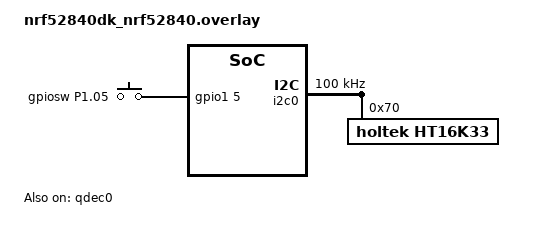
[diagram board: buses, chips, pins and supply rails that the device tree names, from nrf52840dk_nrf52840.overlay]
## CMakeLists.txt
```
cmake_minimum_required(VERSION 3.20.0)
find_package(Zephyr REQUIRED HINTS $ENV{ZEPHYR_BASE})

project(final)

FILE(GLOB app_sources src/*.c)

target_sources(app PRIVATE ${app_sources})
```

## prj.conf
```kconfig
CONFIG_SENSOR=y
CONFIG_PRINTK=y

# CONFIG: ROTARY SENSOR
CONFIG_LOG=y
CONFIG_I2C=y
CONFIG_LED=y
CONFIG_KSCAN=y
CONFIG_KSCAN_INIT_PRIORITY=95
CONFIG_HT16K33_KEYSCAN=y

# CONFIG: NFC
CONFIG_NCS_SAMPLES_DEFAULTS=y

CONFIG_REBOOT=y
CONFIG_DK_LIBRARY=y

CONFIG_NFC_T2T_NRFXLIB=y

CONFIG_NFC_NDEF=y
CONFIG_NFC_NDEF_MSG=y
CONFIG_NFC_NDEF_RECORD=y
CONFIG_NFC_NDEF_URI_REC=y
CONFIG_NFC_NDEF_LAUNCHAPP_MSG=y

# CONFIG: BLUETOOTH
CONFIG_BT=y
CONFIG_BT_PERIPHERAL=y
CONFIG_BT_DEVICE_NAME="SMART_HOME_LIGHT"
CONFIG_BT_LBS=y
CONFIG_BT_LBS_POLL_BUTTON=y

CONFIG_SYSTEM_WORKQUEUE_STACK_SIZE=2048
```

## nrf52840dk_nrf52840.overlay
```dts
/ {
	aliases {
		qdec0 = &qdec0;
		gpio-sw = &gpiosw;
	};

	gpiocustom{
		status = "okay";
		compatible = "gpio-keys";
		gpiosw: gpiosw {
			gpios = <&gpio1 5 (GPIO_PULL_UP)>;
			label = "gpiosw P1.05";
		};
	};
};

&pinctrl {
	qdec_pinctrl: qdec_pinctrl {
		group1 {
			psels = <NRF_PSEL(QDEC_A, 1, 4)>,   /* Arduino D3 */
				<NRF_PSEL(QDEC_B, 1, 3)>;   /* Arduino D2 */
		};
	};
};

&qdec0 {
	status = "okay";
	pinctrl-0 = <&qdec_pinctrl>;
	pinctrl-names = "default";
	steps = < 20 >;
	led-pre = < 500 >;
};

&i2c0 {
	clock-frequency = <I2C_BITRATE_STANDARD>;

	ht16k33@70 {
		compatible = "holtek,ht16k33";
		reg = <0x70>;
                /* Uncomment to use IRQ instead of polling: */
		/* irq-gpios = <&gpio1 8 (GPIO_PULL_UP | GPIO_ACTIVE_LOW)>; */

		keyscan {
			compatible = "holtek,ht16k33-keyscan";
		};
	};
};
```

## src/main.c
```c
#include <zephyr/kernel.h>
#include <zephyr/device.h>
#include <zephyr/sys/printk.h>
#include <zephyr/drivers/sensor.h>
#include <zephyr/drivers/gpio.h>

#include <zephyr/sys/reboot.h>

#include <nfc_t2t_lib.h>
#include <nfc/ndef/launchapp_msg.h>

#include <dk_buttons_and_leds.h>

#include <zephyr/bluetooth/bluetooth.h>
#include <zephyr/bluetooth/hci.h>
#include <zephyr/bluetooth/conn.h>
#include <zephyr/bluetooth/uuid.h>
#include <zephyr/bluetooth/gatt.h>


#include <bluetooth/services/lbs.h>
#include <zephyr/settings/settings.h>

#include "rotary.h"

// NFC
#define NDEF_MSG_BUF_SIZE	256
#define NFC_FIELD_LED		DK_LED1

// BLUETOOTH
#define DEVICE_NAME         CONFIG_BT_DEVICE_NAME
#define DEVICE_NAME_LEN     (sizeof(DEVICE_NAME) - 1)

#define RUN_STATUS_LED      DK_LED1
#define CON_STATUS_LED      DK_LED2
// #define RUN_LED_BLINK_INTERVAL 1000

#define USER_BUTTON         DK_BTN1_MSK

static bool app_button_state;

static const struct bt_data ad[] = {
	BT_DATA_BYTES(BT_DATA_FLAGS, (BT_LE_AD_GENERAL | BT_LE_AD_NO_BREDR)),
	BT_DATA(BT_DATA_NAME_COMPLETE, DEVICE_NAME, DEVICE_NAME_LEN),
};

static const struct bt_data sd[] = {
	BT_DATA_BYTES(BT_DATA_UUID128_ALL, BT_UUID_LBS_VAL),
};


// NFC
/* URI nrf-toolbox://main/ */
static const uint8_t universal_link[] = {
	'n', 'r', 'f', '-', 't', 'o', 'o', 'l', 'b', 'o', 'x', ':', '/', '/', 'm', 'a', 'i', 'n',
	'/'};

/* Package: com.sec.android.app.camera */
/* If you want to use Camera App with NFC, Just use this code! */
// static const uint8_t camara_pkg_name[] = {
// 	'c', 'o', 'm', '.', 's', 'e', 'c', '.', 'a', 'n', 'd', 'r', 'o', 'i', 'd', '.', 'a', 'p', 'p', '.', 'c', 'a', 'm', 'e', 'r', 'a'
// };

/* Package: no.nordicsemi.android.mcp */
static const uint8_t nrf_connect_pkg_name[] = {
	'n', 'o', '.', 'n', 'o', 'r', 'd', 'i', 'c', 's', 'e', 'm', 'i', '.', 'a', 'n', 'd', 'r', 'o', 'i', 'd', '.', 'm', 'c', 'p'
};
/** .. include_endpoint_pkg_def_launchapp_rst */

/* Buffer used to hold an NFC NDEF message. */
static uint8_t ndef_msg_buf[NDEF_MSG_BUF_SIZE];

// Rotary Sensor
#define SW_NODE DT_NODELABEL(gpiosw)
static const struct gpio_dt_spec sw = GPIO_DT_SPEC_GET(SW_NODE, gpios);

static bool sw_led_flag = false;
static int rotary_idx = 0;

static struct gpio_callback sw_cb_data;

// Bluetooth functions
static void bt_connected(struct bt_conn *conn, uint8_t err)
{
    if(err)
    {
        printk("Connection failed (err %u)\n", err);
        return;
    }

    printk("Connected\n");

	led_off_all();
}

static void bt_disconnected(struct bt_conn *conn, uint8_t reason)
{
	printk("Disconnected (reason %u)\n", reason);

	dk_set_led_off(CON_STATUS_LED);
}

#ifdef CONFIG_BT_LBS_SECURITY_ENABLED
static void security_changed(struct bt_conn *conn, bt_security_t level,
			     enum bt_security_err err)
{
	char addr[BT_ADDR_LE_STR_LEN];

	bt_addr_le_to_str(bt_conn_get_dst(conn), addr, sizeof(addr));

	if (!err) {
		printk("Security changed: %s level %u\n", addr, level);
	} else {
		printk("Security failed: %s level %u err %d\n", addr, level,
			err);
	}
}
#endif

BT_CONN_CB_DEFINE(conn_callbacks) = {
	.connected        = bt_connected,
	.disconnected     = bt_disconnected,
#ifdef CONFIG_BT_LBS_SECURITY_ENABLED
	.security_changed = security_changed,
#endif
};

static struct bt_conn_auth_cb conn_auth_callbacks;
static struct bt_conn_auth_info_cb conn_auth_info_callbacks;

#define USER_LED DK_LED3

static void app_led_cb(bool led_state)
{
	dk_set_led(USER_LED, led_state);
	led_all_set(led_state);
}

static bool app_button_cb(void)
{
	return app_button_state;
}

static struct bt_lbs_cb lbs_callbacs = {
	.led_cb    = app_led_cb,
	.button_cb = app_button_cb,
};

static void button_changed(uint32_t button_state, uint32_t has_changed)
{
	if (has_changed & USER_BUTTON) {
		uint32_t user_button_state = button_state & USER_BUTTON;

		bt_lbs_send_button_state(user_button_state);
		app_button_state = user_button_state ? true : false;
	}
}

static int init_button(void)
{
	int err;

	err = dk_buttons_init(button_changed);
	if (err) {
		printk("Cannot init buttons (err: %d)\n", err);
	}

	return err;
}


static void nfc_callback(void *context,
			 nfc_t2t_event_t event,
			 const uint8_t *data,
			 size_t data_length)
{
	ARG_UNUSED(context);
	ARG_UNUSED(data);
	ARG_UNUSED(data_length);

	switch (event) {
	case NFC_T2T_EVENT_FIELD_ON:
		dk_set_led_on(NFC_FIELD_LED);
		break;
	case NFC_T2T_EVENT_FIELD_OFF:
		dk_set_led_off(NFC_FIELD_LED);
		break;
	default:
		break;
	}
}

void sw_callback(const struct device *dev, struct gpio_callback *cb, uint32_t pins)
{
    printk("SW pressed\n");
    sw_led_flag = !sw_led_flag;
}

int main(void)
{
	// LED(RICH SHIELD TWO )
	
    int blink_status = 0;

	// for error codes
	int err;

    struct sensor_value val;
    int rc;
    const struct device *const dev = DEVICE_DT_GET(DT_ALIAS(qdec0));

	size_t len = sizeof(ndef_msg_buf);

    printk("Starting Bluetooth\n");
	// 버튼 초기화(DK 내부 버튼들 사용하려고 함)
	err = init_button();
	if(err) {
		printk("Button init failed (err %d)\n", err);
		return 0;
	}

	// BLE Security 설정 여부 확인하고, 설정되어있으면 실행하는 것.
    if (IS_ENABLED(CONFIG_BT_LBS_SECURITY_ENABLED)) {
		err = bt_conn_auth_cb_register(&conn_auth_callbacks);
		if (err) {
			printk("Failed to register authorization callbacks.\n");
			return 0;
		}

		err = bt_conn_auth_info_cb_register(&conn_auth_info_callbacks);
		if (err) {
			printk("Failed to register authorization info callbacks.\n");
			return 0;
		}
	}

	// bluetooth 사용으로 설정하는 과정
    err = bt_enable(NULL);
	if (err) {
		printk("Bluetooth init failed (err %d)\n", err);
		return 0;
	}

    printk("Bluetooth initialized\n");

	// setting값이 있으면 load
    if (IS_ENABLED(CONFIG_SETTINGS)) {
		settings_load();
	}

	// 버튼으로 LED 제어 준비
	err = bt_lbs_init(&lbs_callbacs);
	if (err) {
		printk("Failed to init LBS (err:%d)\n", err);
		return 0;
	}

	// 블루투스 Advertising
    err = bt_le_adv_start(BT_LE_ADV_CONN, ad, ARRAY_SIZE(ad),
			      sd, ARRAY_SIZE(sd));
	if (err) {
		printk("Advertising failed to start (err %d)\n", err);
		return 0;
	}

	printk("Advertising successfully started\n");


	// NFC 시작
	printk("Starting NFC\n");

    if(!device_is_ready(dev))
    {
        printk("Qdec device is not ready\n");
        return 0;
    }

    if(!gpio_is_ready_dt(&sw))
    {
		printk("SW GPIO is not ready\n");
		return 0;
	}

	/* Configure LED-pins as outputs */
	err = dk_leds_init();
	if (err) {
		printk("Cannot init LEDs!\n");
		goto fail;
	}

	/* Set up NFC */
	err = nfc_t2t_setup(nfc_callback, NULL);
	if (err) {
		printk("Cannot setup NFC T2T library!\n");
		goto fail;
	}

    err = gpio_pin_configure_dt(&sw, GPIO_INPUT);
    if(err < 0)
    {
        printk("Error configuring sw GPIO pin %d\n", err);
        return 0;
    }

    err = gpio_pin_interrupt_configure_dt(&sw, GPIO_INT_EDGE_RISING);
    if(err != 0)
    {
        printk("Error configuring SW GPIO interrupt %d\n", err);
        return 0;
    }

    gpio_init_callback(&sw_cb_data, sw_callback, BIT(sw.pin));
    gpio_add_callback(sw.port, &sw_cb_data);

    // led_on_idx(rotary_idx);
	led_off_all();

	/* Encode launch app data  */
	err = nfc_launchapp_msg_encode(nrf_connect_pkg_name,
				       sizeof(nrf_connect_pkg_name),
				       universal_link,
				       sizeof(universal_link),
				       ndef_msg_buf,
				       &len);
	if (err) {
		printk("Cannot encode message!\n");
		goto fail;
	}

	/* Set created message as the NFC payload */
	err = nfc_t2t_payload_set(ndef_msg_buf, len);
	if (err) {
		printk("Cannot set payload!\n");
		goto fail;
	}

	/* Start sensing NFC field */
	err = nfc_t2t_emulation_start();
	if (err) {
		printk("Cannot start emulation!\n");
		goto fail;
	}

	printk("NFC configuration done\n");

	int32_t rotary_value = 0;

    while(1)
    {
        dk_set_led(RUN_STATUS_LED, (++blink_status) % 2);
        
        rc = sensor_sample_fetch(dev);
        rc = sensor_channel_get(dev, SENSOR_CHAN_ROTATION, &val);

		// if(app_button_state)
		rotary_value += (val.val1 / 72 * 5);

		if(rotary_value > 100)
			rotary_value = 100;
		else if(rotary_value < 0)
			rotary_value = 0;
		led_brightness(rotary_value);
		// printk("rotary value: %d\n", val.val1);	
		// else
		// 	led_off_all();

        k_msleep(100);
    }
    
	return 0;

fail:
#if CONFIG_REBOOT
	sys_reboot(SYS_REBOOT_COLD);
#endif /* CONFIG_REBOOT */

	return err;
}
```

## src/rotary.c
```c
#include "rotary.h"

// int led_matrix_array [MAX_ROTARY_IDX+1][MAX_LED_NUM+1]= {
//     {
//         0, 0, 0, 0, 0, 0, 0, 0, 0, 0, 0, 0, 0, 0, 0, 0,
//         0, 0, 0, 0, 0, 0, 0, 0, 0, 0, 0, 0, 0, 0, 0, 0,
//         0, 0, 0, 0, 0, 0, 0, 0, 0, 0, 0, 0, 0, 0, 0, 0,
//         1, 1, 1, 1, 1, 1, 1, 1, 0, 0, 0, 0, 0, 0, 0, 0,
//         0, 0, 0, 0, 0, 0, 0, 0, 1, 1, 1, 1, 1, 1, 1, 1,
//         0, 0, 0, 0, 0, 0, 0, 0, 0, 0, 0, 0, 0, 0, 0, 0,
//         0, 0, 0, 0, 0, 0, 0, 0, 0, 0, 0, 0, 0, 0, 0, 0,
//         0, 0, 0, 0, 0, 0, 0, 0, 0, 0, 0, 0, 0, 0, 0, 0
//     },
//     {
//         0, 0, 0, 0, 0, 0, 0, 0, 0, 0, 0, 0, 0, 0, 0, 0,
//         0, 0, 0, 0, 0, 0, 0, 0, 0, 0, 0, 0, 0, 0, 0, 0,
//         1, 1, 1, 0, 0, 0, 0, 0, 0, 0, 0, 0, 0, 0, 0, 0,
//         0, 0, 0, 1, 1, 1, 1, 1, 0, 0, 0, 0, 0, 0, 0, 0,
//         0, 0, 0, 0, 0, 0, 0, 0, 1, 1, 1, 1, 1, 0, 0, 0,
//         0, 0, 0, 0, 0, 0, 0, 0, 0, 0, 0, 0, 0, 1, 1, 1,
//         0, 0, 0, 0, 0, 0, 0, 0, 0, 0, 0, 0, 0, 0, 0, 0,
//         0, 0, 0, 0, 0, 0, 0, 0, 0, 0, 0, 0, 0, 0, 0, 0
//     },
//     {
//         0, 0, 0, 0, 0, 0, 0, 0, 0, 0, 0, 0, 0, 0, 0, 0,
//         1, 1, 0, 0, 0, 0, 0, 0, 0, 0, 0, 0, 0, 0, 0, 0,
//         0, 0, 1, 1, 1, 0, 0, 0, 0, 0, 0, 0, 0, 0, 0, 0,
//         0, 0, 0, 0, 0, 1, 1, 1, 0, 0, 0, 0, 0, 0, 0, 0,
//         0, 0, 0, 0, 0, 0, 0, 0, 1, 1, 1, 0, 0, 0, 0, 0,
//         0, 0, 0, 0, 0, 0, 0, 0, 0, 0, 0, 1, 1, 1, 0, 0,
//         0, 0, 0, 0, 0, 0, 0, 0, 0, 0, 0, 0, 0, 0, 1, 1,
//         0, 0, 0, 0, 0, 0, 0, 0, 0, 0, 0, 0, 0, 0, 0, 0
//     },
//     {
//         1, 1, 0, 0, 0, 0, 0, 0, 0, 0, 0, 0, 0, 0, 0, 0,
//         0, 0, 1, 1, 0, 0, 0, 0, 0, 0, 0, 0, 0, 0, 0, 0,
//         0, 0, 0, 0, 1, 1, 0, 0, 0, 0, 0, 0, 0, 0, 0, 0,
//         0, 0, 0, 0, 0, 0, 1, 1, 0, 0, 0, 0, 0, 0, 0, 0,
//         0, 0, 0, 0, 0, 0, 0, 0, 1, 1, 0, 0, 0, 0, 0, 0,
//         0, 0, 0, 0, 0, 0, 0, 0, 0, 0, 1, 1, 0, 0, 0, 0,
//         0, 0, 0, 0, 0, 0, 0, 0, 0, 0, 0, 0, 1, 1, 0, 0,
//         0, 0, 0, 0, 0, 0, 0, 0, 0, 0, 0, 0, 0, 0, 1, 1
//     },
//     {
//         0, 0, 1, 0, 0, 0, 0, 0, 0, 0, 0, 0, 0, 0, 0, 0,
//         0, 0, 0, 1, 1, 0, 0, 0, 0, 0, 0, 0, 0, 0, 0, 0,
//         0, 0, 0, 0, 0, 1, 0, 0, 0, 0, 0, 0, 0, 0, 0, 0,
//         0, 0, 0, 0, 0, 0, 1, 1, 0, 0, 0, 0, 0, 0, 0, 0,
//         0, 0, 0, 0, 0, 0, 0, 0, 1, 1, 0, 0, 0, 0, 0, 0,
//         0, 0, 0, 0, 0, 0, 0, 0, 0, 1, 1, 0, 0, 0, 0, 0,
//         0, 0, 0, 0, 0, 0, 0, 0, 0, 0, 0, 1, 1, 0, 0, 0,
//         0, 0, 0, 0, 0, 0, 0, 0, 0, 0, 0, 0, 0, 1, 0, 0
//     },
//     {
//         0, 0, 0, 0, 1, 0, 0, 0, 0, 0, 0, 0, 0, 0, 0, 0,
//         0, 0, 0, 0, 0, 1, 0, 0, 0, 0, 0, 0, 0, 0, 0, 0,
//         0, 0, 0, 0, 0, 0, 1, 0, 0, 0, 0, 0, 0, 0, 0, 0,
//         0, 0, 0, 0, 0, 0, 0, 1, 0, 0, 0, 0, 0, 0, 0, 0,
//         0, 0, 0, 0, 0, 0, 0, 0, 1, 0, 0, 0, 0, 0, 0, 0,
//         0, 0, 0, 0, 0, 0, 0, 0, 0, 1, 0, 0, 0, 0, 0, 0,
//         0, 0, 0, 0, 0, 0, 0, 0, 0, 0, 1, 0, 0, 0, 0, 0,
//         0, 0, 0, 0, 0, 0, 0, 0, 0, 0, 0, 1, 0, 0, 0, 0,
//     },
//     {
//         0, 0, 0, 0, 0, 0, 1, 0, 0, 0, 0, 0, 0, 0, 0, 0,
//         0, 0, 0, 0, 0, 0, 1, 0, 0, 0, 0, 0, 0, 0, 0, 0,
//         0, 0, 0, 0, 0, 0, 0, 1, 0, 0, 0, 0, 0, 0, 0, 0,
//         0, 0, 0, 0, 0, 0, 0, 1, 0, 0, 0, 0, 0, 0, 0, 0,
//         0, 0, 0, 0, 0, 0, 0, 0, 1, 0, 0, 0, 0, 0, 0, 0,
//         0, 0, 0, 0, 0, 0, 0, 0, 1, 0, 0, 0, 0, 0, 0, 0,
//         0, 0, 0, 0, 0, 0, 0, 0, 0, 1, 0, 0, 0, 0, 0, 0,
//         0, 0, 0, 0, 0, 0, 0, 0, 0, 1, 0, 0, 0, 0, 0, 0
//     },
//     {
//         0, 0, 0, 0, 0, 0, 0, 1, 0, 0, 0, 0, 0, 0, 0, 0,
//         0, 0, 0, 0, 0, 0, 0, 1, 0, 0, 0, 0, 0, 0, 0, 0,
//         0, 0, 0, 0, 0, 0, 0, 1, 0, 0, 0, 0, 0, 0, 0, 0,
//         0, 0, 0, 0, 0, 0, 0, 1, 0, 0, 0, 0, 0, 0, 0, 0,
//         0, 0, 0, 0, 0, 0, 0, 0, 1, 0, 0, 0, 0, 0, 0, 0,
//         0, 0, 0, 0, 0, 0, 0, 0, 1, 0, 0, 0, 0, 0, 0, 0,
//         0, 0, 0, 0, 0, 0, 0, 0, 1, 0, 0, 0, 0, 0, 0, 0,
//         0, 0, 0, 0, 0, 0, 0, 0, 1, 0, 0, 0, 0, 0, 0, 0
//     },
//     {
//         0, 0, 0, 0, 0, 0, 0, 0, 1, 0, 0, 0, 0, 0, 0, 0,
//         0, 0, 0, 0, 0, 0, 0, 0, 1, 0, 0, 0, 0, 0, 0, 0,
//         0, 0, 0, 0, 0, 0, 0, 0, 1, 0, 0, 0, 0, 0, 0, 0,
//         0, 0, 0, 0, 0, 0, 0, 0, 1, 0, 0, 0, 0, 0, 0, 0,
//         0, 0, 0, 0, 0, 0, 0, 1, 0, 0, 0, 0, 0, 0, 0, 0,
//         0, 0, 0, 0, 0, 0, 0, 1, 0, 0, 0, 0, 0, 0, 0, 0,
//         0, 0, 0, 0, 0, 0, 0, 1, 0, 0, 0, 0, 0, 0, 0, 0,
//         0, 0, 0, 0, 0, 0, 0, 1, 0, 0, 0, 0, 0, 0, 0, 0
//     },
//     {
//         0, 0, 0, 0, 0, 0, 0, 0, 0, 0, 0, 1, 0, 0, 0, 0,
//         0, 0, 0, 0, 0, 0, 0, 0, 0, 0, 1, 0, 0, 0, 0, 0,
//         0, 0, 0, 0, 0, 0, 0, 0, 0, 1, 0, 0, 0, 0, 0, 0,
//         0, 0, 0, 0, 0, 0, 0, 0, 1, 0, 0, 0, 0, 0, 0, 0,
//         0, 0, 0, 0, 0, 0, 0, 1, 0, 0, 0, 0, 0, 0, 0, 0,
//         0, 0, 0, 0, 0, 0, 1, 0, 0, 0, 0, 0, 0, 0, 0, 0,
//         0, 0, 0, 0, 0, 1, 0, 0, 0, 0, 0, 0, 0, 0, 0, 0,
//         0, 0, 0, 0, 1, 0, 0, 0, 0, 0, 0, 0, 0, 0, 0, 0
//     },
//     {
//         0, 0, 0, 0, 0, 0, 0, 0, 0, 0, 0, 0, 0, 1, 0, 0,
//         0, 0, 0, 0, 0, 0, 0, 0, 0, 0, 0, 1, 1, 0, 0, 0,
//         0, 0, 0, 0, 0, 0, 0, 0, 0, 0, 1, 0, 0, 0, 0, 0,
//         0, 0, 0, 0, 0, 0, 0, 0, 1, 1, 0, 0, 0, 0, 0, 0,
//         0, 0, 0, 0, 0, 0, 1, 1, 0, 0, 0, 0, 0, 0, 0, 0,
//         0, 0, 0, 0, 0, 1, 1, 0, 0, 0, 0, 0, 0, 0, 0, 0,
//         0, 0, 0, 1, 1, 0, 0, 0, 0, 0, 0, 0, 0, 0, 0, 0,
//         0, 0, 1, 0, 0, 0, 0, 0, 0, 0, 0, 0, 0, 0, 0, 0
//     },
//     {
//         0, 0, 0, 0, 0, 0, 0, 0, 0, 0, 0, 0, 0, 0, 1, 1,
//         0, 0, 0, 0, 0, 0, 0, 0, 0, 0, 0, 0, 1, 1, 0, 0,
//         0, 0, 0, 0, 0, 0, 0, 0, 0, 0, 1, 1, 0, 0, 0, 0,
//         0, 0, 0, 0, 0, 0, 0, 0, 1, 1, 0, 0, 0, 0, 0, 0,
//         0, 0, 0, 0, 0, 0, 1, 1, 0, 0, 0, 0, 0, 0, 0, 0,
//         0, 0, 0, 0, 1, 1, 0, 0, 0, 0, 0, 0, 0, 0, 0, 0,
//         0, 0, 1, 1, 0, 0, 0, 0, 0, 0, 0, 0, 0, 0, 0, 0,
//         1, 1, 0, 0, 0, 0, 0, 0, 0, 0, 0, 0, 0, 0, 0, 0
//     },
//     {
//         0, 0, 0, 0, 0, 0, 0, 0, 0, 0, 0, 0, 0, 0, 0, 0,
//         0, 0, 0, 0, 0, 0, 0, 0, 0, 0, 0, 0, 0, 0, 1, 1,
//         0, 0, 0, 0, 0, 0, 0, 0, 0, 0, 0, 1, 1, 1, 0, 0,
//         0, 0, 0, 0, 0, 0, 0, 0, 1, 1, 1, 0, 0, 0, 0, 0,
//         0, 0, 0, 0, 0, 1, 1, 1, 0, 0, 0, 0, 0, 0, 0, 0,
//         0, 0, 1, 1, 1, 0, 0, 0, 0, 0, 0, 0, 0, 0, 0, 0,
//         1, 1, 0, 0, 0, 0, 0, 0, 0, 0, 0, 0, 0, 0, 0, 0,
//         0, 0, 0, 0, 0, 0, 0, 0, 0, 0, 0, 0, 0, 0, 0, 0
//     },
//     {
//         0, 0, 0, 0, 0, 0, 0, 0, 0, 0, 0, 0, 0, 0, 0, 0,
//         0, 0, 0, 0, 0, 0, 0, 0, 0, 0, 0, 0, 0, 0, 0, 0,
//         0, 0, 0, 0, 0, 0, 0, 0, 0, 0, 0, 0, 0, 1, 1, 1,
//         0, 0, 0, 0, 0, 0, 0, 0, 1, 1, 1, 1, 1, 0, 0, 0,
//         0, 0, 0, 1, 1, 1, 1, 1, 0, 0, 0, 0, 0, 0, 0, 0,
//         1, 1, 1, 0, 0, 0, 0, 0, 0, 0, 0, 0, 0, 0, 0, 0,
//         0, 0, 0, 0, 0, 0, 0, 0, 0, 0, 0, 0, 0, 0, 0, 0,
//         0, 0, 0, 0, 0, 0, 0, 0, 0, 0, 0, 0, 0, 0, 0, 0
//     },
//     {
//         0, 0, 0, 0, 0, 0, 0, 0, 0, 0, 0, 0, 0, 0, 0, 0,
//         0, 0, 0, 0, 0, 0, 0, 0, 0, 0, 0, 0, 0, 0, 0, 0,
//         0, 0, 0, 0, 0, 0, 0, 0, 0, 0, 0, 0, 0, 0, 0, 0,
//         0, 0, 0, 0, 0, 0, 0, 0, 1, 1, 1, 1, 1, 1, 1, 1,
//         1, 1, 1, 1, 1, 1, 1, 1, 0, 0, 0, 0, 0, 0, 0, 0,
//         0, 0, 0, 0, 0, 0, 0, 0, 0, 0, 0, 0, 0, 0, 0, 0,
//         0, 0, 0, 0, 0, 0, 0, 0, 0, 0, 0, 0, 0, 0, 0, 0,
//         0, 0, 0, 0, 0, 0, 0, 0, 0, 0, 0, 0, 0, 0, 0, 0
//     }
// };

int led_init()
{
    if(!device_is_ready(led))
    {
        printk("LED device %s is not ready\n", led->name);
    }

    return 0;
}

void led_off_all()
{
    for(int i = 0 ; i < MAX_LED_NUM ; i++)
    {
        led_off(led, i);
    }
}

void led_on_all()
{
    for(int i = 0 ; i < MAX_LED_NUM ; i++)
    {
        led_on(led, i);
    }
}

// void led_on_idx(int idx)
// {
//     // led_off_all();
//     for(int i = 0 ; i < MAX_LED_NUM ; i++)
//     {
//         if(led_matrix_array[idx][i] == 1)
//         {
//             led_on(led, i);
//         }
//         else
//         {
//             led_off(led, i);
//         }
//     }
// }

void led_brightness(int32_t idx)
{
    if(idx > 100)
        idx = 100;
    else if(idx < 0)
        idx = 0;
        
    led_set_brightness(led, 0, idx);
}

void led_all_set(bool led_state)
{
    if(led_state)
        led_on_all();
    else
        led_off_all();
}
```

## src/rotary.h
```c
#include <zephyr/drivers/led.h>
#include <zephyr/drivers/kscan.h>
#include <zephyr/devicetree.h>
#include <zephyr/kernel.h>

#define LED_NODE DT_COMPAT_GET_ANY_STATUS_OKAY(holtek_ht16k33)
#define KEY_NODE DT_CHILD(LED_NODE, keyscan)

#define MAX_LED_NUM 128
#define MAX_ROTARY_IDX 15

static const struct device *const led = DEVICE_DT_GET(LED_NODE);

int led_init();

void led_on_all();
void led_off_all();
// void led_on_idx(int idx);

void led_all_set(bool led_state);
```
